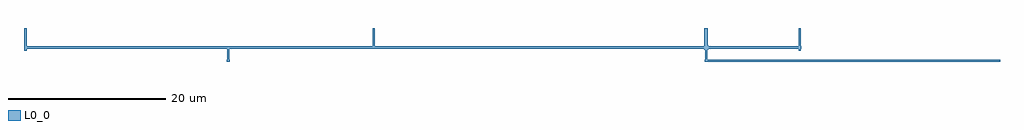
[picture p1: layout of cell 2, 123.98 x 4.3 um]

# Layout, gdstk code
import gdstk
lib = gdstk.Library(unit=1e-6, precision=1e-09)
def P(c, l, *ps):  # polygons
    for p in ps: c.add(gdstk.Polygon(p, *l))
L0_0 = (0, 0)

c_2 = lib.new_cell('2')
P(c_2, L0_0, [(1352.89,775),(1352.89,772.3),(1352.45,772.3),(1352.45,775),(1352.89,775)],
  [(1352.4,772.79),(1352.94,772.79),(1352.94,772.25),(1352.4,772.25),(1352.4,772.79)],
  [(1310.24,772.66),(1310.62,772.66),(1310.62,772.38),(1310.24,772.38),(1310.24,772.66)],
  [(1291.835,772.635),(1310.545,772.635),(1310.545,772.405),(1291.835,772.405),(1291.835,772.635)],
  [(1291.76,772.66),(1292.14,772.66),(1292.14,772.38),(1291.76,772.38),(1291.76,772.66)],
  [(1364.41,772.89),(1364.69,772.89),(1364.69,772.15),(1364.41,772.15),(1364.41,772.89)],
  [(1364.69,775),(1364.69,772.38),(1364.41,772.38),(1364.41,775),(1364.69,775)],
  [(1310.57,775),(1310.57,772.38),(1310.29,772.38),(1310.29,775),(1310.57,775)],
  [(1310.24,772.66),(1310.62,772.66),(1310.62,772.38),(1310.24,772.38),(1310.24,772.66)],
  [(1291.81,770.7),(1291.81,772.66),(1292.09,772.66),(1292.09,770.7),(1291.81,770.7)],
  [(1291.76,772.66),(1292.14,772.66),(1292.14,772.38),(1291.76,772.38),(1291.76,772.66)],
  [(1291.76,770.98),(1292.14,770.98),(1292.14,770.7),(1291.76,770.7),(1291.76,770.98)],
  [(1266.07,772.89),(1266.35,772.89),(1266.35,772.15),(1266.07,772.15),(1266.07,772.89)],
  [(1266.35,775),(1266.35,772.38),(1266.07,772.38),(1266.07,775),(1266.35,775)],
  [(1266.07,772.66),(1364.69,772.66),(1364.69,772.38),(1266.07,772.38),(1266.07,772.66)],
  [(1364.36,772.66),(1364.74,772.66),(1364.74,772.38),(1364.36,772.38),(1364.36,772.66)],
  [(1266.02,772.66),(1266.4,772.66),(1266.4,772.38),(1266.02,772.38),(1266.02,772.66)],
  [(1390,770.7),(1352.53,770.7),(1352.53,770.98),(1390,770.98),(1390,770.7)],
  [(1352.48,770.98),(1352.86,770.98),(1352.86,770.7),(1352.48,770.7),(1352.48,770.98)],
  [(1352.53,770.7),(1352.53,772.66),(1352.81,772.66),(1352.81,770.7),(1352.53,770.7)],
  [(1352.48,772.66),(1352.86,772.66),(1352.86,772.38),(1352.48,772.38),(1352.48,772.66)],
  [(1352.48,770.98),(1352.86,770.98),(1352.86,770.7),(1352.48,770.7),(1352.48,770.98)],
  [(1352.4,772.71),(1352.94,772.71),(1352.94,772.33),(1352.4,772.33),(1352.4,772.71)],
  [(1352.48,772.66),(1352.86,772.66),(1352.86,772.38),(1352.48,772.38),(1352.48,772.66)])

lib.write_gds('2.gds')
